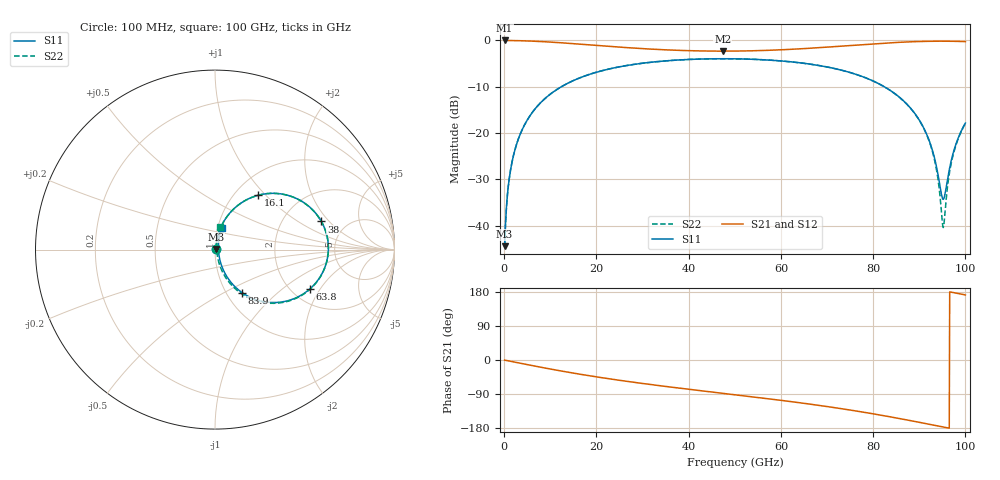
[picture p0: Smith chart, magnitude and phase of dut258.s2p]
! Touchstone file exported from HFSS 2026.1.0
!  File:  C:/ffzhzh/LocalFiles/Ansys_Project_Files/temp_train_RDL_258_1783501641_55944.aedt
!  Generated:  05:08:52 PM Jul  8, 2026
!  Design:  RDL
!  Project:  temp_train_RDL_258_1783501641_55944
! Variables:
!  h_bsmrdl = 2um
!  h_ox = 20um
!  h_rdl = 5um
!  h_sub = 80um
!  h_tmrdl = 2.48um
!  h_tsv = 80um
!  h_via = 3um
!  l_bsmrdl = 300um
!  l_sub = 1015.44um
!  l_tmrdl = 615.44um
!  m_sub = 200um
!  pitch = 47.79um
!  r_tsv = 6um
!  s_tmrdl = 10um
!  w_bsmrdl = 18um
!  w_sub = 500um
!  w_tmrdl = 17.47um
!  x_tsv_center1 = 624.175um
!  x_tsv_center2 = 942.175um
!  x_tsv_center3 = 1575.085um
!  x_tsv_center4 = 1893.085um
!  x_tsv_center5 = 2525.995um
!  x_tsv_center6 = 2843.995um
# GHz S MA R 50.000000
! Terminal data exported
! Port[1] = TM_RDL1_1_T1
! Port[2] = TM_RDL1_1_T2
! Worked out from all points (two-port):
!   1000 points, 100 MHz to 100 GHz, reference 50 ohm
!   highest |S21| = -0.05 dB at 100 MHz (marker M1); lowest = -2.4 dB at 47.4 GHz (marker M2)
!   |S21| within 3 dB of the highest: start of sweep to end of sweep
!   lowest |S11| = -44.4 dB at 100 MHz (marker M3), VSWR 1.01, Z = 50.5 + j0.303 ohm
!   |S11| at or under -10 dB: start of sweep to 12.46 GHz; 82.36 GHz to end of sweep
!   |S22| runs from -44.4 to -4.0 dB; largest |S21 - S12| = 1.8e-14
!   S11 on the Smith chart (normalised r, x): 100 MHz: 1.01, +0.01; 16.1 GHz: 1.27, +0.91; 38 GHz: 3.28, +1.65; 63.8 GHz: 2.51, -1.62; 83.9 GHz: 1.18, -0.62; 100 GHz: 1.05, +0.26
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0.1  0.005995 30.0  0.9948 -0.3  0.9948 -0.3  0.005995 30.0
! Gamma 0 0 0 0
! Port Impedance 50 0 50 0
0.9  0.02657 74.3  0.9935 -2.3  0.9935 -2.3  0.02657 74.3
1.5  0.04286 77.5  0.9926 -3.7  0.9926 -3.7  0.04286 77.5
4.1  0.1135 76.3  0.9862 -10.0  0.9862 -10.0  0.1135 76.3
8.8  0.2336 66.7  0.9633 -21.1  0.9633 -21.1  0.2336 66.7
16.1  0.3875 51.5  0.9102 -36.8  0.9102 -36.8  0.3875 51.4
16.8  0.3999 50.1  0.9047 -38.2  0.9047 -38.2  0.3999 50.0
33.4  0.5895 21.6  0.7949 -67.3  0.7949 -67.3  0.5895 21.5
38  0.6131 14.8  0.7774 -74.3  0.7774 -74.3  0.6131 14.7
47.4  0.6318 1.5  0.7629 -87.9  0.7629 -87.9  0.6319 1.3
50.1  0.6304 -2.3  0.7641 -91.7  0.7641 -91.7  0.6304 -2.5
63.8  0.5734 -22.3  0.8061 -112.3  0.8061 -112.3  0.5734 -22.7
66.7  0.549 -26.9  0.8221 -117.1  0.8221 -117.1  0.549 -27.3
83.4  0.2941 -56.9  0.9369 -149.3  0.9369 -149.3  0.2939 -58.3
83.9  0.2832 -57.8  0.94 -150.4  0.94 -150.4  0.283 -59.3
88.4  0.1778 -65.6  0.9633 -160.7  0.9633 -160.7  0.1772 -68.3
91.6  0.09687 -67.8  0.9734 -168.2  0.9734 -168.2  0.09568 -73.1
93.5  0.04881 -60.5  0.9763 -172.8  0.9763 -172.8  0.04612 -71.4
94.9  0.02067 -18.7  0.9769 -176.1  0.9769 -176.1  0.01238 -36.3
95.2  0.0192 3.3  0.9768 -176.8  0.9768 -176.8  0.009535 3.2
97.2  0.05677 67.8  0.9748 178.4  0.9748 178.4  0.05405 77.7
100  0.1278 72.4  0.9677 171.7  0.9677 171.7  0.1265 77.0
